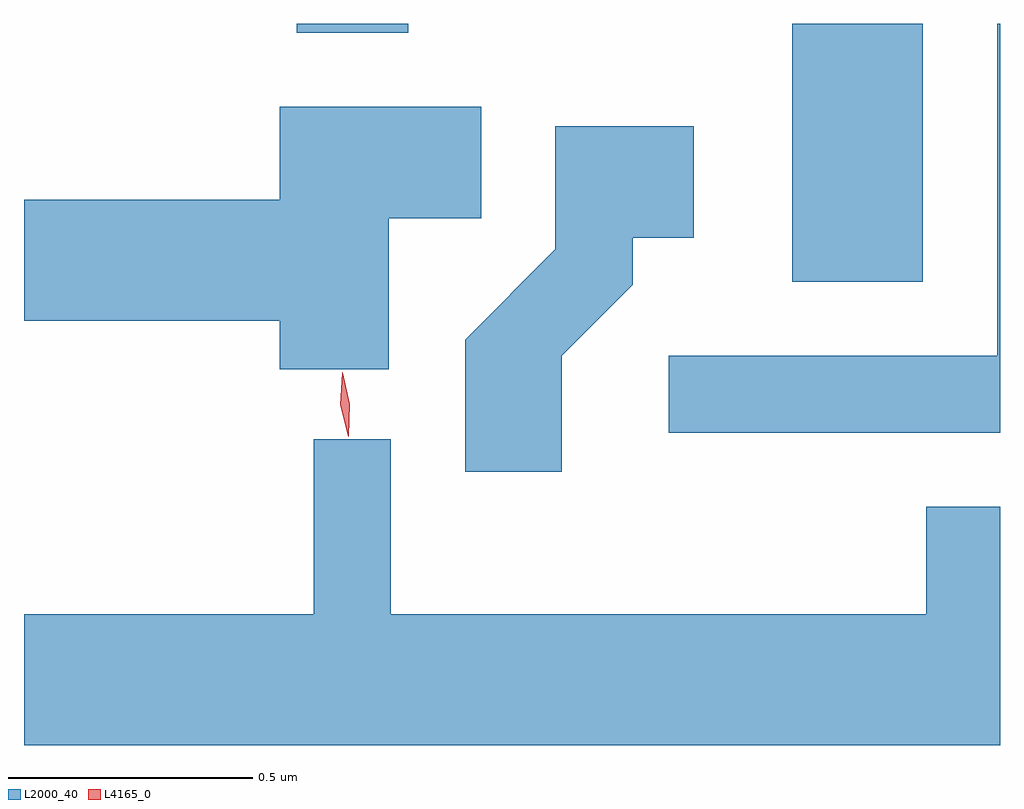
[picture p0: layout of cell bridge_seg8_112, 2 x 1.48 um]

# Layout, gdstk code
import gdstk
lib = gdstk.Library(unit=1e-6, precision=1e-09)
def R(c, l, rs):  # rectangles x0, y0, x1, y1
    for r in rs: c.add(gdstk.rectangle(r[:2], r[2:], *l))
def P(c, l, *ps):  # polygons
    for p in ps: c.add(gdstk.Polygon(p, *l))
L2000_40 = (2000, 40)
L4165_0 = (4165, 0)

bridge_seg8_112 = lib.new_cell('bridge_seg8_112')
R(bridge_seg8_112, L2000_40, [(1564.246,1832.926,1564.514,1833.454), (1563.231,1833.436,1563.459,1833.454)])
P(bridge_seg8_112, L2000_40, [(1564.672,1833.454),(1564.666,1833.454),(1564.666,1832.774),(1563.993,1832.774),(1563.993,1832.616),(1564.672,1832.616)],
  [(1563.419,1833.056),(1563.609,1833.056),(1563.609,1833.284),(1563.196,1833.284),(1563.196,1833.094),(1562.672,1833.094),(1562.672,1832.846),(1563.196,1832.846),(1563.196,1832.746),(1563.419,1832.746)],
  [(1563.774,1832.774),(1563.919,1832.919),(1563.919,1833.016),(1564.044,1833.016),(1564.044,1833.244),(1563.761,1833.244),(1563.761,1832.992),(1563.576,1832.807),(1563.576,1832.536),(1563.774,1832.536)],
  [(1564.672,1832.464),(1564.521,1832.464),(1564.521,1832.244),(1563.424,1832.244),(1563.424,1832.603),(1563.266,1832.603),(1563.266,1832.244),(1562.672,1832.244),(1562.672,1831.976),(1564.672,1831.976)])
P(bridge_seg8_112, L4165_0, [(1563.337,1832.608),(1563.336,1832.609),(1563.32,1832.673),(1563.324,1832.739),(1563.324,1832.74),(1563.325,1832.739),(1563.34,1832.675),(1563.337,1832.609)])

lib.write_gds('bridge_seg8_112.gds')
